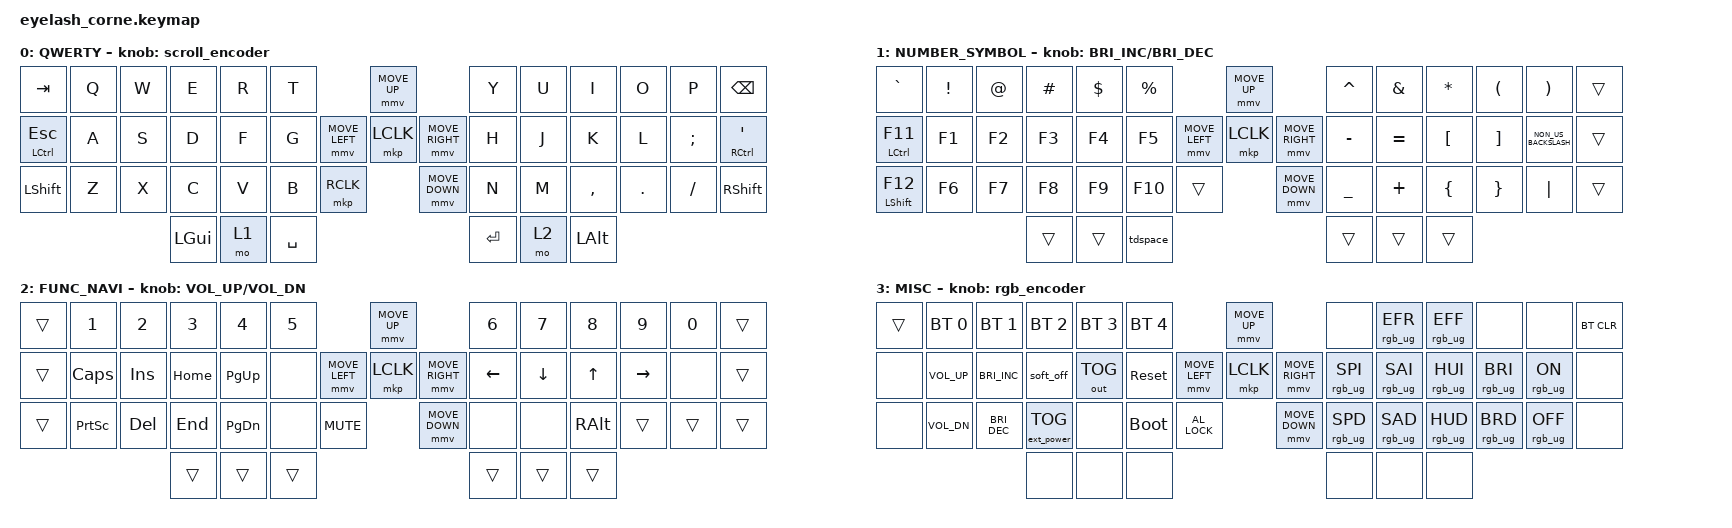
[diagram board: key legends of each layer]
#define ZMK_POINTING_DEFAULT_MOVE_VAL 1200  // 600
#define ZMK_POINTING_DEFAULT_SCRL_VAL 25   // 10

#include <input/processors.dtsi>
#include <zephyr/dt-bindings/input/input-event-codes.h>
#include <behaviors.dtsi>
#include <dt-bindings/zmk/bt.h>
#include <dt-bindings/zmk/ext_power.h>
#include <dt-bindings/zmk/keys.h>
#include <dt-bindings/zmk/outputs.h>
#include <dt-bindings/zmk/pointing.h>
#include <dt-bindings/zmk/rgb.h>

&mmv_input_listener { input-processors = <&zip_xy_scaler 2 1>; };

&msc_input_listener { input-processors = <&zip_scroll_scaler 2 1>; };

&msc {
    acceleration-exponent = <1>;      // 0
    time-to-max-speed-ms = <100>;       // 300
    delay-ms = <0>;                   // 0
};

&mmv {
    time-to-max-speed-ms = <500>;
    acceleration-exponent = <1>;
    trigger-period-ms = <16>;
};

&mt { flavor = "balanced"; };

/ {
    behaviors {
        td0: td0 {
            compatible = "zmk,behavior-tap-dance";
            display-name = "Shift/Caps Lock Tap Dance";
            #binding-cells = <0>;
            bindings = <&kp LEFT_SHIFT>, <&kp CAPS>;
        };

        tdspace: tdspace {
            compatible = "zmk,behavior-tap-dance";
            label = "TDSPACE";
            #binding-cells = <0>;
            bindings = <&mt LGUI SPACE>, <&kp SPACE>;

            tapping-term-ms = <100>;
        };
    };

    rgb_encoder: rgb_encoder {
        compatible = "zmk,behavior-sensor-rotate";
        #sensor-binding-cells = <0>;
        bindings = <&rgb_ug RGB_BRI>, <&rgb_ug RGB_BRD>;
    };

    scroll_encoder: scroll_encoder {
        compatible = "zmk,behavior-sensor-rotate";
        #sensor-binding-cells = <0>;
        bindings = <&msc SCRL_DOWN>, <&msc SCRL_UP>;

        tap-ms = <100>;
    };

    combos { compatible = "zmk,combos"; };

    keymap {
        compatible = "zmk,keymap";

        default_layer {
            display-name = "QWERTY";
            bindings = <
&kp TAB           &kp Q  &kp W  &kp E         &kp R  &kp T                                   &mmv MOVE_UP                     &kp Y      &kp U  &kp I         &kp O    &kp P          &kp BACKSPACE
&mt LCTRL ESCAPE  &kp A  &kp S  &kp D         &kp F  &kp G                   &mmv MOVE_LEFT  &mkp LCLK       &mmv MOVE_RIGHT  &kp H      &kp J  &kp K         &kp L    &kp SEMICOLON  &mt RCTRL SINGLE_QUOTE
&kp LSHIFT        &kp Z  &kp X  &kp C         &kp V  &kp B      &mkp RCLK                    &mmv MOVE_DOWN                   &kp N      &kp M  &kp COMMA     &kp DOT  &kp FSLH       &kp RSHIFT
                                &kp LEFT_GUI  &mo 1  &kp SPACE                                                                &kp ENTER  &mo 2  &kp LEFT_ALT
            >;

            sensor-bindings = <&scroll_encoder>;
        };

        lower_layer {
            display-name = "NUMBER_SYMBOL";
            bindings = <
&kp GRAVE       &kp EXCL  &kp AT  &kp HASH  &kp DLLR  &kp PRCNT                            &mmv MOVE_UP                     &kp CARET  &kp AMPS   &kp ASTRK         &kp LPAR           &kp RPAR              &trans
&mt LCTRL F11   &kp F1    &kp F2  &kp F3    &kp F4    &kp F5               &mmv MOVE_LEFT  &mkp LCLK       &mmv MOVE_RIGHT  &kp MINUS  &kp EQUAL  &kp LEFT_BRACKET  &kp RIGHT_BRACKET  &kp NON_US_BACKSLASH  &trans
&mt LSHIFT F12  &kp F6    &kp F7  &kp F8    &kp F9    &kp F10    &trans                    &mmv MOVE_DOWN                   &kp UNDER  &kp PLUS   &kp LEFT_BRACE    &kp RIGHT_BRACE    &kp PIPE              &trans
                                  &trans    &trans    &tdspace                                                              &trans     &trans     &trans
            >;

            sensor-bindings = <&inc_dec_kp C_BRIGHTNESS_INC C_BRIGHTNESS_DEC>;
        };

        raise_layer {
            display-name = "FUNC_NAVI";
            bindings = <
&trans  &kp NUMBER_1     &kp NUMBER_2  &kp NUMBER_3  &kp NUMBER_4   &kp N5                                &mmv MOVE_UP                     &kp NUMBER_6  &kp N7    &kp N8        &kp N9     &kp N0  &trans
&trans  &kp CAPSLOCK     &kp INSERT    &kp HOME      &kp PG_UP      &none                 &mmv MOVE_LEFT  &mkp LCLK       &mmv MOVE_RIGHT  &kp LEFT      &kp DOWN  &kp UP_ARROW  &kp RIGHT  &none   &trans
&trans  &kp PRINTSCREEN  &kp DELETE    &kp END       &kp PAGE_DOWN  &none   &kp C_MUTE                    &mmv MOVE_DOWN                   &none         &none     &kp RALT      &trans     &trans  &trans
                                       &trans        &trans         &trans                                                                 &trans        &trans    &trans
            >;

            sensor-bindings = <&inc_dec_kp C_VOL_UP C_VOL_DN>;
        };

        misc {
            display-name = "MISC";
            bindings = <
&trans  &bt BT_SEL 0  &bt BT_SEL 1          &bt BT_SEL 2       &bt BT_SEL 3  &bt BT_SEL 4                                   &mmv MOVE_UP                     &none            &rgb_ug RGB_EFR  &rgb_ug RGB_EFF  &none            &none            &bt BT_CLR
&none   &kp C_VOL_UP  &kp C_BRIGHTNESS_INC  &soft_off          &out OUT_TOG  &sys_reset                     &mmv MOVE_LEFT  &mkp LCLK       &mmv MOVE_RIGHT  &rgb_ug RGB_SPI  &rgb_ug RGB_SAI  &rgb_ug RGB_HUI  &rgb_ug RGB_BRI  &rgb_ug RGB_ON   &none
&none   &kp C_VOL_DN  &kp C_BRIGHTNESS_DEC  &ext_power EP_TOG  &none         &bootloader   &kp C_AL_LOCK                    &mmv MOVE_DOWN                   &rgb_ug RGB_SPD  &rgb_ug RGB_SAD  &rgb_ug RGB_HUD  &rgb_ug RGB_BRD  &rgb_ug RGB_OFF  &none
                                            &none              &none         &none                                                                           &none            &none            &none
            >;

            sensor-bindings = <&rgb_encoder>;
        };
    };

    conditional_layers {
        compatible = "zmk,conditional-layers";

        misc {
            if-layers = <1 2>;
            then-layer = <3>;
        };
    };
};
